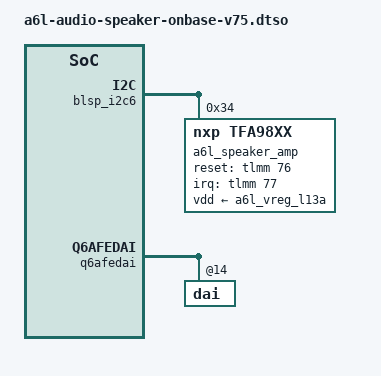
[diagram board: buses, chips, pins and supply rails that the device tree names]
// SPDX-License-Identifier: GPL-2.0-only
// V75 CANDIDATE (audio3 agent, 24 Sep 2026), never booted. = a6l-audio-speaker-onbase-v74.dtso (audio2) with the V75 notes:
//  * REQUIRES q6asm-dai.ko built with a6l-q6asm-dai-xlate-v75.patch: the V71/V74 base lists the q6asm-dais children as
//    dai@1, dai@0 (fdtoverlay prepend), so the stock index lookup gives link "MultiMedia1" the MultiMedia2 DAI (the 23 Sep
//    "inverted DPCM"). With the patch <&q6asmdai N> = reg N. Check: tools/check-audio-dt-links.py merged.dtb --rule reg --expect-tfa
//  * SPEAKER OPTIONAL AT RUN TIME: snd-soc-tfa98xx.ko must be built with tfa98xx-a6l/apply-a6l-optional-v75.sh; if the amp
//    does not answer, it registers a silent stub DAI (dmesg "A6L_TFA_STUB") and the card (headset, mics) still binds.
//    Build-time requirements (else the WHOLE card waits): snd-soc-tfa98xx.ko shipped + loaded; LPI pinctrl built with
//    a6l-lpi-ter-mi2s-v74.patch (pinctrl-0 below uses ter_mi2s_* functions); /vendor/firmware or /lib/firmware tfa98xx.cnt.
// --- original v74 notes ---
// SPDX-License-Identifier: GPL-2.0-only
// V74 CANDIDATE (audio2 agent, 23 Sep 2026), never booted. VARIANT FOR A BASE THAT ALREADY CONTAINS THE V71 SOUND LINKS (base.dtb of V71 does: mm1, mm2, int0, int3).
// fdtoverlay cannot reorder or delete nodes and prepends new ones, so a plain new tert link would become link 0 and q6routing
// would probe before q6asm-dai (all MM_DL routes fail, card -19). Instead this overlay only ADDS/OVERWRITES:
//   new head node  -> MultiMedia1 FE;  old mm1-dai-link -> MultiMedia2 FE;  old mm2-dai-link -> Speaker Playback BE (tert).
// Resulting link order: MultiMedia1, MultiMedia2, Speaker Playback, Internal MI2S Playback, Internal MI2S Capture.
// If the V74 base is built WITHOUT sound links, use a6l-audio-speaker-v74.dtso instead. Adds the loudspeaker path: NXP TFA9894 smart amp (I2C 0x34 on c1b6000 = blsp_i2c6) fed by TERTIARY MI2S
// (AFE port 0x1004, LPI gpio4 SCK / gpio5 WS / gpio6 SD0 / gpio7 SD1, stock "func4").
// Needs, before the card can bind (otherwise the WHOLE card defers, headset included):
//   * pinctrl-sdm660-lpass-lpi.ko rebuilt with a6l-lpi-ter-mi2s-v74.patch (functions ter_mi2s_clk/ws/data), and
//   * snd-soc-tfa98xx.ko (tfa98xx-a6l port) loaded before the machine driver, /lib/firmware/tfa98xx.cnt (stock container).
// Stock facts (firmware/extracted/device-trees/stock-00.dts): tfa98xx@34 { vdd-supply = pm660_l13; reset-gpio = tlmm 76;
// irq-gpio = tlmm 77 }, qcom,msm-dai-q6-mi2s-tert { rx-lines = 0x2 (SD1), tx-lines = 0x1 (SD0 = amp feedback, unused here) },
// audio_platform_info: SND_DEVICE_OUT_SPEAKER -> TERT_MI2S_RX; mixer_paths "speaker": TERT_MI2S_RX Audio Mixer MultiMedia1 = 1.
// sm8250.c already handles TERTIARY_MI2S_RX (TER_MI2S_IBIT 1.536 MHz, CPU = clock master, codec BC_FC I2S).
/dts-v1/;
/plugin/;

&lpi_tlmm {
    a6l_ter_mi2s_default: a6l-ter-mi2s-default-state {
        clk-pins { pins = "gpio4"; function = "ter_mi2s_clk"; drive-strength = <8>; bias-disable; };
        ws-pins { pins = "gpio5"; function = "ter_mi2s_ws"; drive-strength = <8>; bias-disable; };
        data-pins { pins = "gpio6", "gpio7"; function = "ter_mi2s_data"; drive-strength = <8>; bias-disable; };
    };
};

&blsp_i2c6 {
    #address-cells = <1>;
    #size-cells = <0>;
    status = "okay";                               /* already okay (front ALS at 0x47) */
    a6l_speaker_amp: audio-amplifier@34 {
        compatible = "nxp,tfa98xx";                /* tfa98xx-a6l driver; also accepts "tfa,tfa9894" */
        reg = <0x34>;
        vdd-supply = <&a6l_vreg_l13a>;             /* pm660 L13 1.8 V (the driver does not switch it; already on) */
        reset-gpio = <&tlmm 76 0>;                 /* GPIO_ACTIVE_HIGH, as stock */
        irq-gpio = <&tlmm 77 0>;
        pinctrl-names = "default";
        pinctrl-0 = <&a6l_ter_mi2s_default>;       /* LPI pins muxed when the amp probes (stock switches active/sleep) */
        #sound-dai-cells = <0>;
    };
};

&q6afedai {
    #address-cells = <1>;
    #size-cells = <0>;
    dai@20 { reg = <20>; qcom,sd-lines = <1>; };      /* TERTIARY_MI2S_RX: stock rx-lines 0x2 = SD1 (gpio7) */
};

&sound {
    a6l-mm1-head-dai-link { link-name = "MultiMedia1"; cpu { sound-dai = <&q6asmdai 0>; }; };   /* prepended -> link 0 */
    mm1-dai-link { link-name = "MultiMedia2"; cpu { sound-dai = <&q6asmdai 1>; }; };            /* existing node, link 1 */
    mm2-dai-link {                                                                              /* existing node, link 2 */
        link-name = "Speaker Playback";
        cpu { sound-dai = <&q6afedai 20>; };             /* TERTIARY_MI2S_RX */
        platform { sound-dai = <&q6routing>; };
        codec { sound-dai = <&a6l_speaker_amp>; };
    };
};

/ { fragment@91 { target-path = "/chosen"; __overlay__ { hisense,a6l-audio = "a1-speaker-onbase-v75"; }; }; };
